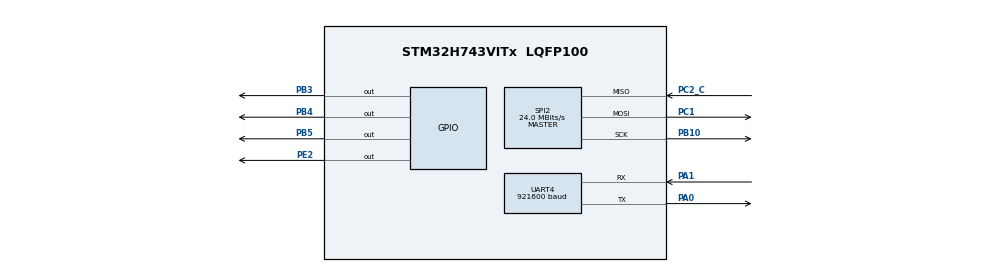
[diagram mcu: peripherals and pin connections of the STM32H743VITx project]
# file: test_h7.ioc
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CORTEX_M7.default_mode_Activation=1
Mcu.Family=STM32H7
Mcu.Name=STM32H743VITx
Mcu.Package=LQFP100
NVIC.PriorityGroup=NVIC_PRIORITYGROUP_4
PA0.Mode=Asynchronous
PA0.Signal=UART4_TX
PA1.Mode=Asynchronous
PA1.Signal=UART4_RX
PA13\ (JTMS/SWDIO).Signal=DEBUG_JTMS-SWDIO
PA14\ (JTCK/SWCLK).Signal=DEBUG_JTCK-SWCLK
PB10.Mode=Full_Duplex_Master
PB10.Signal=SPI2_SCK
PB3\ (JTDO/TRACESWO).Signal=GPIO_Output
PB4\ (NJTRST).Signal=GPIO_Output
PB5.Signal=GPIO_Output
PC1.Mode=Full_Duplex_Master
PC1.Signal=SPI2_MOSI
PC2_C.Mode=Full_Duplex_Master
PC2_C.Signal=SPI2_MISO
PE2.Signal=GPIO_Output
PH0-OSC_IN\ (PH0).Mode=HSE-External-Oscillator
PH0-OSC_IN\ (PH0).Signal=RCC_OSC_IN
PH1-OSC_OUT\ (PH1).Mode=HSE-External-Oscillator
PH1-OSC_OUT\ (PH1).Signal=RCC_OSC_OUT
ProjectManager.HeapSize=0x200
ProjectManager.StackSize=0x400
ProjectManager.TargetToolchain=STM32CubeIDE
RCC.ADCFreq_Value=50390625
RCC.APB1Freq_Value=120000000
RCC.APB2Freq_Value=120000000
RCC.APB3Freq_Value=120000000
RCC.APB4Freq_Value=120000000
RCC.CortexFreq_Value=480000000
RCC.D1PPRE=RCC_APB3_DIV2
RCC.D2PPRE1=RCC_APB1_DIV2
RCC.D2PPRE2=RCC_APB2_DIV2
RCC.D3PPRE=RCC_APB4_DIV2
RCC.DIVM1=5
RCC.DIVN1=192
RCC.DIVQ1=5
RCC.HCLKFreq_Value=240000000
RCC.HPRE=RCC_HCLK_DIV2
RCC.HSE_VALUE=25000000
RCC.PLL2FRACN=0
RCC.PLL3FRACN=0
RCC.PLLFRACN=0
RCC.PLLSourceVirtual=RCC_PLLSOURCE_HSE
RCC.SYSCLKFreq_VALUE=480000000
RCC.SYSCLKSource=RCC_SYSCLKSOURCE_PLLCLK
RCC.USBFreq_Value=192000000
SPI2.BaudRatePrescaler=SPI_BAUDRATEPRESCALER_8
SPI2.CalculateBaudRate=24.0 MBits/s
SPI2.DataSize=SPI_DATASIZE_16BIT
SPI2.Direction=SPI_DIRECTION_2LINES
SPI2.Mode=SPI_MODE_MASTER
SPI2.VirtualType=VM_MASTER
UART4.BaudRate=921600
VP_MEMORYMAP_VS_MEMORYMAP.Mode=CurAppReg
board=custom

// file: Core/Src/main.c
/* USER CODE BEGIN Header */
/**
  ******************************************************************************
  * @file           : main.c
  * @brief          : Main program body
  ******************************************************************************
  * @attention
  *
  * Copyright (c) 2026 STMicroelectronics.
  * All rights reserved.
  *
  * This software is licensed under terms that can be found in the LICENSE file
  * in the root directory of this software component.
  * If no LICENSE file comes with this software, it is provided AS-IS.
  *
  ******************************************************************************
  */
/* USER CODE END Header */
#include "main.h"

/* USER CODE BEGIN Includes */
#include <stdio.h>
#include <string.h>
#include <math.h>
/* USER CODE END Includes */

/* USER CODE BEGIN PTD */

#define VREF_ADC    3.3f     // điện áp tham chiếu AD7689 (V)
#define ADC_RES     65535.0f   // 16-bit resolution
#define VCC_DRV     3.3f
#define VREF_DRV    (VCC_DRV/2.0f)  // offset điện áp DRV5055
#define SENSITIVITY 0.0075f    // V/mT (DRV5055A4 ~ 7.5mV/mT)

#define CNV_PORT   GPIOE
#define CNV_PIN    LL_GPIO_PIN_2
#define SYSTICK_LOAD (SystemCoreClock/1000000U)
#define SYSTICK_DELAY_CALIB (SYSTICK_LOAD >> 1)

#define SYSTICK_LOAD (SystemCoreClock/1000000U)
#define SYSTICK_DELAY_CALIB (SYSTICK_LOAD >> 1)

//---------------- H7 series----------------------//
static inline void DWT_Init(void)
{
	 /* Mở khóa DWT */
    CoreDebug->DEMCR |= CoreDebug_DEMCR_TRCENA_Msk;
    /* Reset bộ đếm về 0 */
    DWT->CYCCNT = 0;
    /* Bật CYCCNT */
    DWT->CTRL |= DWT_CTRL_CYCCNTENA_Msk;
}

#define DELAY_US(us) \
do { \
    uint32_t start = DWT->CYCCNT; \
    uint32_t ticks = us * (SystemCoreClock / 1000000); \
    while ((DWT->CYCCNT - start) < ticks); \
} while(0)

/*
#define DELAY_US(us) \
    do { \
         uint32_t start = SysTick->VAL; \
         uint32_t ticks = (us * SYSTICK_LOAD)-SYSTICK_DELAY_CALIB;  \
         while((start - SysTick->VAL) < ticks); \
    } while (0)
*/

#define DELAY_MS(ms) \
    do { \
        for (uint32_t i = 0; i < ms; ++i) { \
            DELAY_US(1000); \
        } \
    } while (0)

#define GPIO_SET_PIN(port, pin)     ((port)->BSRR = (pin))
#define GPIO_CLEAR_PIN(port, pin)     ((port)->BSRR = (pin << 16u))
/* USER CODE END PTD */

UART_HandleTypeDef huart4;

/* USER CODE BEGIN PV */
uint16_t adc_raw=0;
uint16_t adc_val[100];
float V_sensor;
float V_sample[100];
float sum;
char uart_tx_buf[128];

uint16_t sensor[8][8];
uint16_t adc_value[8][8];
int a=0;

/*------------External ref 3.3V------------------*/
uint16_t cfg[8] = {
    0x3C71, 0x3CF1, 0x3D71, 0x3DF1,
    0x3E71, 0x3EF1, 0x3F71, 0x3FF1
};

uint16_t ADC_LDO = 0;
float B[8][8];
float V[8][8];
char uart_buf[64];
uint8_t rx_buf[64];
uint32_t sent_count = 0;   // số lượng giá trị B đã gửi thành công
#define ROWS 8
#define COLS 8

/* ============================================================
 * Scalar Kalman Filter – Persistent State
 * Model: x[k] = x[k-1] + w,  w ~ N(0, Q)   (random walk)
 *        z[k] = x[k]   + v,  v ~ N(0, R)   (ADC noise)
 * ============================================================ */

/* --- Tuning parameters (đơn vị V²) ---
 * Q  nhỏ  → filter smooth hơn, response chậm hơn (tín hiệu ít thay đổi)
 * R  lớn  → ADC/sensor noise cao → filter tin tưởng dự đoán hơn đo lường
 *
 * Gợi ý ban đầu cho DRV5055 + AD7689 16-bit:
 *   σ_ADC ≈ 3 LSB → σ_V ≈ 150 µV → R ≈ 2.3e-8
 *   Tuy nhiên, thực tế board noise thường cao hơn → R = 1e-4 an toàn hơn
 *   Q = 1e-5 phù hợp với từ trường thay đổi chậm (capsule endoscopy)
 */
#define KF_Q    1.4e-9f    /* Process noise variance  [V²] */
#define KF_R    4.0e-8f    /* Measurement noise variance [V²] */

typedef struct {
    float x;        /* State estimate: V_filtered     */
    float P;        /* Error covariance               */
    uint8_t init;   /* 0 = chưa khởi tạo             */
} KF1D_t;

/* Persistent state – tồn tại suốt vòng đời chương trình */
static KF1D_t kf_one = { .x = 0.0f, .P = 1.0f, .init = 0U };

static KF1D_t kf_sensor[ROWS][COLS];
/* USER CODE END PV */

void SystemClock_Config(void);
static void MPU_Config(void);
static void MX_GPIO_Init(void);
static void MX_SPI2_Init(void);
static void MX_UART4_Init(void);

/* USER CODE BEGIN 0 */

int16_t AD7689_Read(uint16_t cfg)
{
    uint16_t adc_value = 0;

    __NOP();
    __NOP();
    __NOP();

    DELAY_US(1);

    // CNV HIGH: Bắt đầu quá trình lấy mẫu
    GPIO_SET_PIN(GPIOE, LL_GPIO_PIN_2);

    // SỬA ĐỔI: Tăng thời gian chờ lên tối thiểu 4us (t_conv max = 3.2us)
    DELAY_US(4);

    // CNV LOW: Bắt đầu quá trình đọc dữ liệu
    GPIO_CLEAR_PIN(GPIOE, LL_GPIO_PIN_2);

    __NOP();
    __NOP();

    // Enable SPI if disabled
    if ((SPI2->CR1 & SPI_CR1_SPE) != SPI_CR1_SPE)
    {
        SET_BIT(SPI2->CR1, SPI_CR1_SPE);
    }

    // SỬA ĐỔI: Chờ buffer TX trống và nạp cấu hình (cfg) TRƯỚC
    while (!(SPI2->SR & SPI_SR_TXP));
    *((__IO uint16_t*)&SPI2->TXDR) = cfg;

    // SỬA ĐỔI: Sau khi đã có data trong buffer, mới bắt đầu tạo SCK
    SET_BIT(SPI2->CR1, SPI_CR1_CSTART);

    // Wait RX ready
    while (!(SPI2->SR & SPI_SR_RXP));

    // Read ADC value
    adc_value = *((__IO uint16_t*)&SPI2->RXDR);

    // Wait SPI idle
    while (!LL_SPI_IsActiveFlag_TXC(SPI2));

    __NOP();

    return adc_value;
}

void MUX_SetColumn(uint8_t col) {
    // Bit 0 của col -> S0 = PB3
    if (col & 0x01) GPIO_SET_PIN(GPIOB, LL_GPIO_PIN_3);
    else            GPIO_CLEAR_PIN(GPIOB, LL_GPIO_PIN_3);

    // Bit 1 của col -> S1 = PB4
    if (col & 0x02) GPIO_SET_PIN(GPIOB, LL_GPIO_PIN_4);
    else            GPIO_CLEAR_PIN(GPIOB, LL_GPIO_PIN_4);

    // Bit 2 của col -> S2 = PB5
    if (col & 0x04) GPIO_SET_PIN(GPIOB, LL_GPIO_PIN_5);
    else            GPIO_CLEAR_PIN(GPIOB, LL_GPIO_PIN_5);
}

// ---- Hàm chuyển đổi ADC -> V (V) ----
static inline float ADC_To_V(uint16_t adc_raw)
{
	return ((float)adc_raw / ADC_RES) * VREF_ADC;
}

void Read_Hall_array_sensor()
{
	for (uint8_t col = 0; col < COLS; col++)
	{
		MUX_SetColumn(col); // chọn cột MUX
		AD7689_Read(cfg[0] << 2);  // dummy
		AD7689_Read(cfg[1] << 2);  // dummy
		for (uint8_t row = 2; row < 8; row++)
		{
			sensor[row - 2][col] = AD7689_Read(cfg[row] << 2);
			V[row - 2][col] = ADC_To_V(sensor[row - 2][col]);
			int len = snprintf(uart_buf, sizeof(uart_buf), "%.3f\r\n",  V[row - 2][col]);
			HAL_UART_Transmit(&huart4, (uint8_t*) uart_buf, len, HAL_MAX_DELAY);
		}
		// Đọc hàng 6 và 7 (dummy channels 0 và 1)
		sensor[6][col] = AD7689_Read(cfg[0] << 2); //dummy
		sensor[7][col] = AD7689_Read(cfg[1] << 2); //dummy
		V[6][col] = ADC_To_V(sensor[6][col]);
		V[7][col] = ADC_To_V(sensor[7][col]);
		int len6 = snprintf(uart_buf, sizeof(uart_buf), "%.3f\r\n", V[6][col]);
		HAL_UART_Transmit(&huart4, (uint8_t*) uart_buf, len6, HAL_MAX_DELAY);
		int len7 = snprintf(uart_buf, sizeof(uart_buf), "%.3f\r\n", V[7][col]);
		HAL_UART_Transmit(&huart4, (uint8_t*) uart_buf, len7, HAL_MAX_DELAY);
	}
}

void Collect_Data()
{
	// Chờ lệnh START từ PC
	memset(rx_buf, 0, sizeof(rx_buf));
	HAL_UART_Receive(&huart4, rx_buf, 5, HAL_MAX_DELAY);
	if (strncmp((char*) rx_buf, "START", 5) == 0)
	{
		// Bắt đầu thu tín hiệu 5 lần
		a = 1;
		for (uint8_t repeat = 0; repeat < 5; repeat++)
		{
			Read_Hall_array_sensor();
		}
		// Gửi chuỗi END sau khi xong 3 lần
		const char *end_msg = "END\r\n";
		HAL_UART_Transmit(&huart4, (uint8_t*) end_msg, strlen(end_msg),
		HAL_MAX_DELAY);
	}
}

/**
 * @brief  Scalar Kalman filter update (1 measurement per call)
 * @param  kf  Con trỏ đến persistent state
 * @param  z   Measurement tại bước hiện tại (V)
 * @return     Giá trị ước lượng x̂[k|k]
 */
static inline float KF1D_Update(KF1D_t *kf, float z)
{
    /* --- Khởi tạo lần đầu: seed state bằng measurement đầu tiên --- */
    if (!kf->init)
    {
        kf->x    = z;
        kf->P    = KF_R;   /* P0 = R: không chắc chắn bằng mức noise đo */
        kf->init = 1U;
        return z;
    }

    /* --- Prediction step --- */
    float P_pred = kf->P + KF_Q;            /* P⁻[k] = P[k-1] + Q */

    /* --- Update step --- */
    float K    = P_pred / (P_pred + KF_R);  /* Kalman gain         */
    kf->x     += K * (z - kf->x);           /* x̂[k] = x̂⁻ + K·ε   */
    kf->P      = (1.0f - K) * P_pred;       /* P[k] = (1-K)·P⁻    */

    return kf->x;
}

/*----------------FILTER--------------------*/
void Read_one_sensor(void)
{
    GPIO_CLEAR_PIN(GPIOB, LL_GPIO_PIN_3);
    GPIO_CLEAR_PIN(GPIOB, LL_GPIO_PIN_4);
    GPIO_CLEAR_PIN(GPIOB, LL_GPIO_PIN_5);

    /* AD7689: 2-cycle latency – cần 2 dummy reads trước */
    AD7689_Read(cfg[0] << 2);   /* dummy cycle 1 – configure channel 1 */
    AD7689_Read(cfg[1] << 2);   /* dummy cycle 2 – configure channel 1, nhận kq ch0 (bỏ) */

    /* Lần đọc thứ 3 mới cho kết quả hợp lệ của channel 1 (cfg[1] = 0x3CF1) */
    uint16_t raw = (uint16_t)AD7689_Read(cfg[1] << 2);
    float z = ADC_To_V(raw);

    V_sensor = KF1D_Update(&kf_one, z);

    int len = snprintf(uart_buf, sizeof(uart_buf), "%.4f\r\n", V_sensor);
    HAL_UART_Transmit(&huart4, (uint8_t *)uart_buf, len, HAL_MAX_DELAY);
}

void Read_Hall_array_sensor_Filter(void)
{
    for (uint8_t col = 0; col < COLS; col++)
    {
        // Chọn cột MUX
        MUX_SetColumn(col);

        // =========================================================
        // Dummy conversion
        // Sau khi đổi MUX cần bỏ các mẫu đầu tiên để ADC ổn định
        // =========================================================
        AD7689_Read(cfg[0] << 2);
        AD7689_Read(cfg[1] << 2);

        // =========================================================
        // Đọc sensor row 0 -> row 5
        // =========================================================
        for (uint8_t row = 2; row < 8; row++)
        {
            uint8_t sensor_row = row - 2;

            // Đọc ADC
            sensor[sensor_row][col] =
                AD7689_Read(cfg[row] << 2);

            // ADC -> Voltage
            float voltage_raw =
                ADC_To_V(sensor[sensor_row][col]);

            // Kalman filter
            V[sensor_row][col] =
                KF1D_Update(&kf_sensor[sensor_row][col],
                            voltage_raw);

            // Gửi dữ liệu đã lọc qua UART
            int len = snprintf(
                uart_buf,
                sizeof(uart_buf),
                "%.4f\r\n",
                V[sensor_row][col]
            );

            HAL_UART_Transmit(
                &huart4,
                (uint8_t *)uart_buf,
                len,
                HAL_MAX_DELAY
            );
        }

        // =========================================================
        // Đọc sensor row 6
        // =========================================================
        sensor[6][col] =
            AD7689_Read(cfg[0] << 2);

        float voltage_raw_6 =
            ADC_To_V(sensor[6][col]);

        V[6][col] =
            KF1D_Update(&kf_sensor[6][col],
                        voltage_raw_6);

        int len6 = snprintf(
            uart_buf,
            sizeof(uart_buf),
            "%.4f\r\n",
            V[6][col]
        );

        HAL_UART_Transmit(
            &huart4,
            (uint8_t *)uart_buf,
            len6,
            HAL_MAX_DELAY
        );

        // =========================================================
        // Đọc sensor row 7
        // =========================================================
        sensor[7][col] =
            AD7689_Read(cfg[1] << 2);

        float voltage_raw_7 =
            ADC_To_V(sensor[7][col]);

        V[7][col] =
            KF1D_Update(&kf_sensor[7][col],
                        voltage_raw_7);

        int len7 = snprintf(
            uart_buf,
            sizeof(uart_buf),
            "%.4f\r\n",
            V[7][col]
        );

        HAL_UART_Transmit(
            &huart4,
            (uint8_t *)uart_buf,
            len7,
            HAL_MAX_DELAY
        );
    }
}

void Collect_Data_Filter(void)
{
    // Chờ lệnh START từ PC
    memset(rx_buf, 0, sizeof(rx_buf));

    HAL_UART_Receive(
        &huart4,
        rx_buf,
        5,
        HAL_MAX_DELAY
    );

    if (strncmp((char *)rx_buf, "START", 5) == 0)
    {
        // =========================================================
        // Reset trạng thái Kalman cho 64 sensor
        // =========================================================
        memset(kf_sensor, 0, sizeof(kf_sensor));

        a = 1;

        // =========================================================
        // Thu tín hiệu 5 lần
        // =========================================================
        for (uint8_t repeat = 0; repeat < 5; repeat++)
        {
            Read_Hall_array_sensor_Filter();
        }

        // =========================================================
        // Báo PC đã kết thúc
        // =========================================================
        const char *end_msg = "END\r\n";

        HAL_UART_Transmit(
            &huart4,
            (uint8_t *)end_msg,
            strlen(end_msg),
            HAL_MAX_DELAY
        );
    }
}

/* USER CODE END 0 */

int main(void)
{

  /* MPU Configuration--------------------------------------------------------*/
  MPU_Config();

  /* MCU Configuration--------------------------------------------------------*/

  /* Reset of all peripherals, Initializes the Flash interface and the Systick. */
  HAL_Init();

  /* Configure the system clock */
  SystemClock_Config();

  /* USER CODE BEGIN SysInit */
  DWT_Init();
  /* USER CODE END SysInit */

  /* Initialize all configured peripherals */
  MX_GPIO_Init();
  MX_SPI2_Init();
  MX_UART4_Init();

  /* Infinite loop */
  while (1)
  {

    /* USER CODE BEGIN 3 */

	 // Thu data
	 //Collect_Data();
	  Collect_Data_Filter();

	//Read_Hall_array_sensor();
		//DELAY_MS(10);
  }
  /* USER CODE END 3 */
}

void SystemClock_Config(void)
{
  LL_FLASH_SetLatency(LL_FLASH_LATENCY_4);
  while(LL_FLASH_GetLatency()!= LL_FLASH_LATENCY_4)
  {
  }
  LL_PWR_ConfigSupply(LL_PWR_LDO_SUPPLY);
  LL_PWR_SetRegulVoltageScaling(LL_PWR_REGU_VOLTAGE_SCALE0);
  while (LL_PWR_IsActiveFlag_VOS() == 0)
  {
  }
  LL_RCC_HSE_Enable();

   /* Wait till HSE is ready */
  while(LL_RCC_HSE_IsReady() != 1)
  {

  }
  LL_RCC_PLL_SetSource(LL_RCC_PLLSOURCE_HSE);
  LL_RCC_PLL1P_Enable();
  LL_RCC_PLL1Q_Enable();
  LL_RCC_PLL1_SetVCOInputRange(LL_RCC_PLLINPUTRANGE_4_8);
  LL_RCC_PLL1_SetVCOOutputRange(LL_RCC_PLLVCORANGE_WIDE);
  LL_RCC_PLL1_SetM(5);
  LL_RCC_PLL1_SetN(192);
  LL_RCC_PLL1_SetP(2);
  LL_RCC_PLL1_SetQ(5);
  LL_RCC_PLL1_SetR(2);
  LL_RCC_PLL1_Enable();

   /* Wait till PLL is ready */
  while(LL_RCC_PLL1_IsReady() != 1)
  {
  }

   /* Intermediate AHB prescaler 2 when target frequency clock is higher than 80 MHz */
   LL_RCC_SetAHBPrescaler(LL_RCC_AHB_DIV_2);

  LL_RCC_SetSysClkSource(LL_RCC_SYS_CLKSOURCE_PLL1);

   /* Wait till System clock is ready */
  while(LL_RCC_GetSysClkSource() != LL_RCC_SYS_CLKSOURCE_STATUS_PLL1)
  {

  }
  LL_RCC_SetSysPrescaler(LL_RCC_SYSCLK_DIV_1);
  LL_RCC_SetAHBPrescaler(LL_RCC_AHB_DIV_2);
  LL_RCC_SetAPB1Prescaler(LL_RCC_APB1_DIV_2);
  LL_RCC_SetAPB2Prescaler(LL_RCC_APB2_DIV_2);
  LL_RCC_SetAPB3Prescaler(LL_RCC_APB3_DIV_2);
  LL_RCC_SetAPB4Prescaler(LL_RCC_APB4_DIV_2);
  LL_SetSystemCoreClock(480000000);

   /* Update the time base */
  if (HAL_InitTick (TICK_INT_PRIORITY) != HAL_OK)
  {
    Error_Handler();
  }
}

static void MX_SPI2_Init(void)
{

  LL_SPI_InitTypeDef SPI_InitStruct = {0};

  LL_GPIO_InitTypeDef GPIO_InitStruct = {0};

  LL_RCC_SetSPIClockSource(LL_RCC_SPI123_CLKSOURCE_PLL1Q);

  /* Peripheral clock enable */
  LL_APB1_GRP1_EnableClock(LL_APB1_GRP1_PERIPH_SPI2);

  LL_AHB4_GRP1_EnableClock(LL_AHB4_GRP1_PERIPH_GPIOC);
  LL_AHB4_GRP1_EnableClock(LL_AHB4_GRP1_PERIPH_GPIOB);
  /**SPI2 GPIO Configuration
  PC1   ------> SPI2_MOSI
  PC2_C   ------> SPI2_MISO
  PB10   ------> SPI2_SCK
  */
  GPIO_InitStruct.Pin = LL_GPIO_PIN_1|LL_GPIO_PIN_2;
  GPIO_InitStruct.Mode = LL_GPIO_MODE_ALTERNATE;
  GPIO_InitStruct.Speed = LL_GPIO_SPEED_FREQ_LOW;
  GPIO_InitStruct.OutputType = LL_GPIO_OUTPUT_PUSHPULL;
  GPIO_InitStruct.Pull = LL_GPIO_PULL_NO;
  GPIO_InitStruct.Alternate = LL_GPIO_AF_5;
  LL_GPIO_Init(GPIOC, &GPIO_InitStruct);

  GPIO_InitStruct.Pin = LL_GPIO_PIN_10;
  GPIO_InitStruct.Mode = LL_GPIO_MODE_ALTERNATE;
  GPIO_InitStruct.Speed = LL_GPIO_SPEED_FREQ_LOW;
  GPIO_InitStruct.OutputType = LL_GPIO_OUTPUT_PUSHPULL;
  GPIO_InitStruct.Pull = LL_GPIO_PULL_NO;
  GPIO_InitStruct.Alternate = LL_GPIO_AF_5;
  LL_GPIO_Init(GPIOB, &GPIO_InitStruct);

  /* SPI2 parameter configuration*/
  SPI_InitStruct.TransferDirection = LL_SPI_FULL_DUPLEX;
  SPI_InitStruct.Mode = LL_SPI_MODE_MASTER;
  SPI_InitStruct.DataWidth = LL_SPI_DATAWIDTH_16BIT;
  SPI_InitStruct.ClockPolarity = LL_SPI_POLARITY_LOW;
  SPI_InitStruct.ClockPhase = LL_SPI_PHASE_1EDGE;
  SPI_InitStruct.NSS = LL_SPI_NSS_SOFT;
  SPI_InitStruct.BaudRate = LL_SPI_BAUDRATEPRESCALER_DIV8;
  SPI_InitStruct.BitOrder = LL_SPI_MSB_FIRST;
  SPI_InitStruct.CRCCalculation = LL_SPI_CRCCALCULATION_DISABLE;
  SPI_InitStruct.CRCPoly = 0x0;
  LL_SPI_Init(SPI2, &SPI_InitStruct);
  LL_SPI_SetStandard(SPI2, LL_SPI_PROTOCOL_MOTOROLA);
  LL_SPI_SetFIFOThreshold(SPI2, LL_SPI_FIFO_TH_01DATA);
  LL_SPI_EnableNSSPulseMgt(SPI2);

}

static void MX_UART4_Init(void)
{

  huart4.Instance = UART4;
  huart4.Init.BaudRate = 921600;
  huart4.Init.WordLength = UART_WORDLENGTH_8B;
  huart4.Init.StopBits = UART_STOPBITS_1;
  huart4.Init.Parity = UART_PARITY_NONE;
  huart4.Init.Mode = UART_MODE_TX_RX;
  huart4.Init.HwFlowCtl = UART_HWCONTROL_NONE;
  huart4.Init.OverSampling = UART_OVERSAMPLING_16;
  huart4.Init.OneBitSampling = UART_ONE_BIT_SAMPLE_DISABLE;
  huart4.Init.ClockPrescaler = UART_PRESCALER_DIV1;
  huart4.AdvancedInit.AdvFeatureInit = UART_ADVFEATURE_NO_INIT;
  if (HAL_UART_Init(&huart4) != HAL_OK)
  {
    Error_Handler();
  }
  if (HAL_UARTEx_SetTxFifoThreshold(&huart4, UART_TXFIFO_THRESHOLD_1_8) != HAL_OK)
  {
    Error_Handler();
  }
  if (HAL_UARTEx_SetRxFifoThreshold(&huart4, UART_RXFIFO_THRESHOLD_1_8) != HAL_OK)
  {
    Error_Handler();
  }
  if (HAL_UARTEx_DisableFifoMode(&huart4) != HAL_OK)
  {
    Error_Handler();
  }

}

static void MX_GPIO_Init(void)
{
  LL_GPIO_InitTypeDef GPIO_InitStruct = {0};

  /* GPIO Ports Clock Enable */
  LL_AHB4_GRP1_EnableClock(LL_AHB4_GRP1_PERIPH_GPIOE);
  LL_AHB4_GRP1_EnableClock(LL_AHB4_GRP1_PERIPH_GPIOH);
  LL_AHB4_GRP1_EnableClock(LL_AHB4_GRP1_PERIPH_GPIOC);
  LL_AHB4_GRP1_EnableClock(LL_AHB4_GRP1_PERIPH_GPIOA);
  LL_AHB4_GRP1_EnableClock(LL_AHB4_GRP1_PERIPH_GPIOB);

  /**/
  LL_GPIO_ResetOutputPin(GPIOE, LL_GPIO_PIN_2);

  /**/
  LL_GPIO_ResetOutputPin(GPIOB, LL_GPIO_PIN_3|LL_GPIO_PIN_4|LL_GPIO_PIN_5);

  /**/
  GPIO_InitStruct.Pin = LL_GPIO_PIN_2;
  GPIO_InitStruct.Mode = LL_GPIO_MODE_OUTPUT;
  GPIO_InitStruct.Speed = LL_GPIO_SPEED_FREQ_LOW;
  GPIO_InitStruct.OutputType = LL_GPIO_OUTPUT_PUSHPULL;
  GPIO_InitStruct.Pull = LL_GPIO_PULL_NO;
  LL_GPIO_Init(GPIOE, &GPIO_InitStruct);

  /**/
  GPIO_InitStruct.Pin = LL_GPIO_PIN_3|LL_GPIO_PIN_4|LL_GPIO_PIN_5;
  GPIO_InitStruct.Mode = LL_GPIO_MODE_OUTPUT;
  GPIO_InitStruct.Speed = LL_GPIO_SPEED_FREQ_LOW;
  GPIO_InitStruct.OutputType = LL_GPIO_OUTPUT_PUSHPULL;
  GPIO_InitStruct.Pull = LL_GPIO_PULL_NO;
  LL_GPIO_Init(GPIOB, &GPIO_InitStruct);

}

 /* MPU Configuration */

void MPU_Config(void)
{
  MPU_Region_InitTypeDef MPU_InitStruct = {0};

  /* Disables the MPU */
  HAL_MPU_Disable();

  /** Initializes and configures the Region and the memory to be protected
  */
  MPU_InitStruct.Enable = MPU_REGION_ENABLE;
  MPU_InitStruct.Number = MPU_REGION_NUMBER0;
  MPU_InitStruct.BaseAddress = 0x0;
  MPU_InitStruct.Size = MPU_REGION_SIZE_4GB;
  MPU_InitStruct.SubRegionDisable = 0x87;
  MPU_InitStruct.TypeExtField = MPU_TEX_LEVEL0;
  MPU_InitStruct.AccessPermission = MPU_REGION_NO_ACCESS;
  MPU_InitStruct.DisableExec = MPU_INSTRUCTION_ACCESS_DISABLE;
  MPU_InitStruct.IsShareable = MPU_ACCESS_SHAREABLE;
  MPU_InitStruct.IsCacheable = MPU_ACCESS_NOT_CACHEABLE;
  MPU_InitStruct.IsBufferable = MPU_ACCESS_NOT_BUFFERABLE;

  HAL_MPU_ConfigRegion(&MPU_InitStruct);
  /* Enables the MPU */
  HAL_MPU_Enable(MPU_PRIVILEGED_DEFAULT);

}

void Error_Handler(void)
{
  __disable_irq();
  while (1)
  {
  }
}
